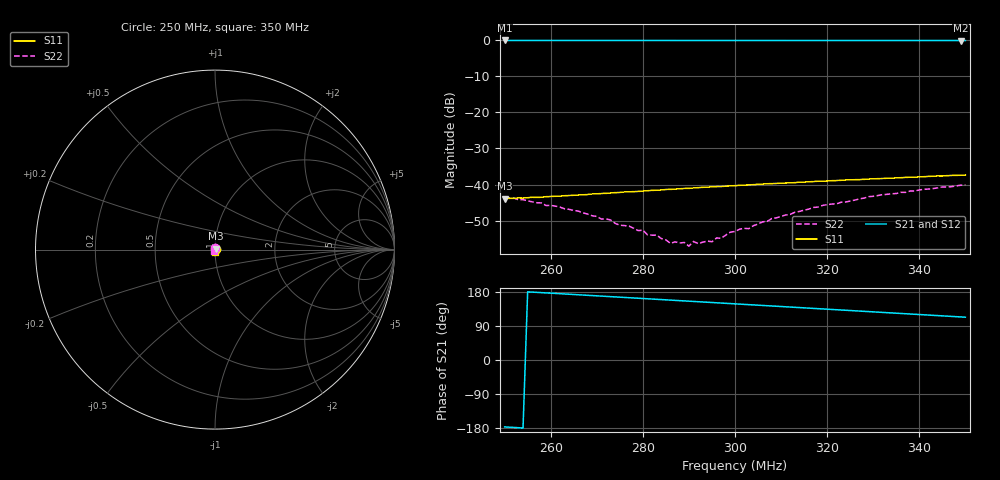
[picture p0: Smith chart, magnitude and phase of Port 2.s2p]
! RsaToolbox (C) 2014 Rohde & Schwarz America
! Number of points: 101
! Number of ports: 2
! Balanced ports?: No
# Hz S RI R 50
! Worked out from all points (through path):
!   101 points, 250 MHz to 350 MHz, reference 50 ohm
!   highest |S21| = -0.11 dB at 250 MHz (marker M1); lowest = -0.1 dB at 349 MHz (marker M2)
!   group delay of S21, straight-line fit = 1.96 ns
!   lowest |S11| = -43.8 dB at 250 MHz (marker M3), VSWR 1.01, Z = 50.4 + j0.485 ohm
!   |S11| at or under -10 dB: start of sweep to end of sweep
!   |S22| runs from -57.0 to -40.0 dB; largest |S21 - S12| = 0
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2.5e8  0.00427 0.00481  -0.9853 -0.0587  -0.9853 -0.0587  -0.00124 0.00657
2.67e8  0.00695 0.00201  -0.9757 0.1469  -0.9757 0.1469  0.000375 0.00405
2.73e8  0.00763 0.000772  -0.9621 0.2185  -0.9621 0.2185  0.000897 0.00312
2.74e8  0.00773 0.00058  -0.9593 0.2303  -0.9593 0.2303  0.000866 0.00278
2.79e8  0.00803 -0.000551  -0.9432 0.2888  -0.9432 0.2888  0.00117 0.002
2.8e8  0.00812 -0.000714  -0.9396 0.3004  -0.9396 0.3004  0.00145 0.00184
2.81e8  0.00818 -0.00104  -0.9358 0.3119  -0.9358 0.3119  0.00122 0.00162
2.83e8  0.00824 -0.00148  -0.9278 0.3348  -0.9278 0.3348  0.00139 0.00144
2.84e8  0.00827 -0.00168  -0.9236 0.3462  -0.9236 0.3462  0.00136 0.00117
2.86e8  0.00832 -0.00217  -0.9147 0.3689  -0.9147 0.3689  0.00131 0.000802
2.89e8  0.00837 -0.0029  -0.9004 0.4023  -0.9004 0.4023  0.00157 0.000214
2.9e8  0.0083 -0.00317  -0.8954 0.4134  -0.8954 0.4134  0.00141 8.7e-05
2.91e8  0.00834 -0.00339  -0.8902 0.4243  -0.8902 0.4243  0.00163 -0.000165
2.92e8  0.00836 -0.00358  -0.8849 0.4353  -0.8849 0.4353  0.00149 -0.000362
2.95e8  0.00824 -0.00432  -0.8682 0.4676  -0.8682 0.4676  0.00129 -0.000985
2.96e8  0.00824 -0.00454  -0.8624 0.4783  -0.8624 0.4783  0.00148 -0.00108
2.97e8  0.00812 -0.00476  -0.8564 0.4888  -0.8564 0.4888  0.0014 -0.00116
3e8  0.00795 -0.00552  -0.8377 0.5201  -0.8377 0.5201  0.00134 -0.0018
3.17e8  0.00582 -0.00937  -0.7112 0.6824  -0.7112 0.6824  -0.000543 -0.0048
3.34e8  0.00213 -0.0121  -0.5538 0.815  -0.5538 0.815  -0.00357 -0.00656
3.49e8  -0.00201 -0.0133  -0.3947 0.9025  -0.3947 0.9025  -0.00648 -0.00737
3.5e8  -0.00234 -0.0134  -0.3836 0.9072  -0.3836 0.9072  -0.00669 -0.00738
